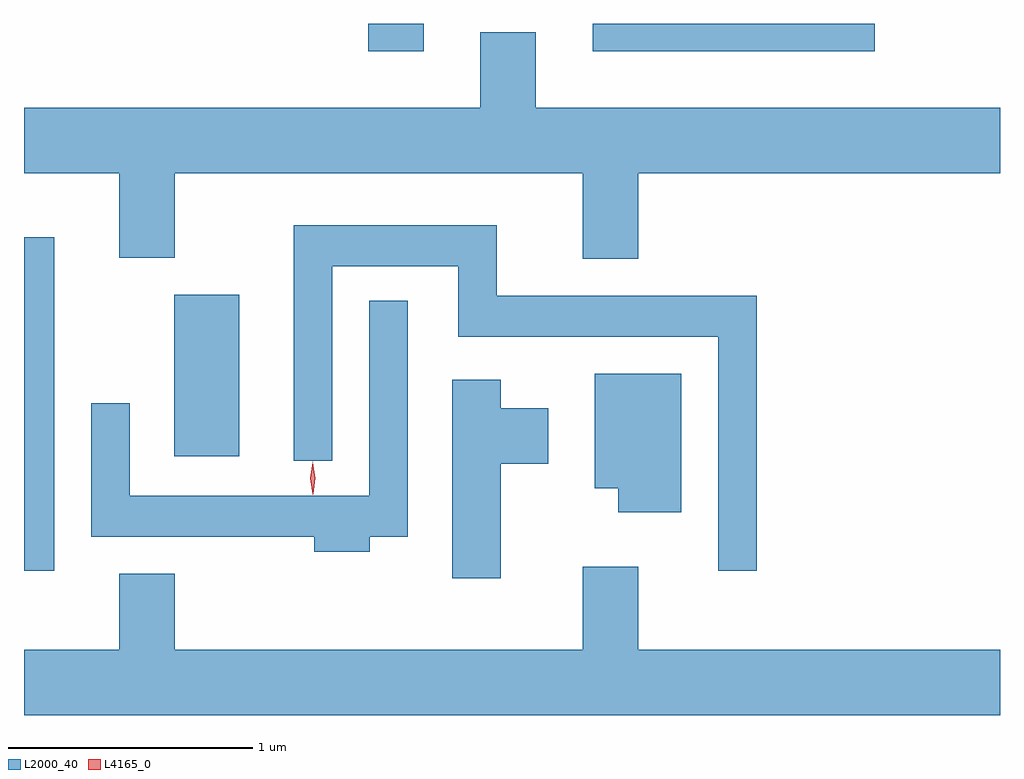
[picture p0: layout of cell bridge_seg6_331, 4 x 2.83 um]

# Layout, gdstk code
import gdstk
lib = gdstk.Library(unit=1e-6, precision=1e-09)
def R(c, l, rs):  # rectangles x0, y0, x1, y1
    for r in rs: c.add(gdstk.rectangle(r[:2], r[2:], *l))
def P(c, l, *ps):  # polygons
    for p in ps: c.add(gdstk.Polygon(p, *l))
L2000_40 = (2000, 40)
L4165_0 = (4165, 0)

bridge_seg6_331 = lib.new_cell('bridge_seg6_331')
R(bridge_seg6_331, L2000_40, [(1297.271,1539.528,1297.394,1540.894), (1297.886,1539.996,1298.154,1540.659), (1298.681,1541.656,1298.909,1541.768), (1299.601,1541.656,1300.758,1541.768)])
P(bridge_seg6_331, L2000_40, [(1299.789,1541.156),(1301.271,1541.156),(1301.271,1541.424),(1299.369,1541.424),(1299.369,1541.734),(1299.141,1541.734),(1299.141,1541.424),(1297.271,1541.424),(1297.271,1541.156),(1297.661,1541.156),(1297.661,1540.811),(1297.889,1540.811),(1297.889,1541.156),(1299.561,1541.156),(1299.561,1540.806),(1299.789,1540.806)],
  [(1300.274,1540.654),(1299.209,1540.654),(1299.209,1540.944),(1298.376,1540.944),(1298.376,1539.978),(1298.534,1539.978),(1298.534,1540.776),(1299.051,1540.776),(1299.051,1540.486),(1300.116,1540.486),(1300.116,1539.528),(1300.274,1539.528)],
  [(1298.689,1539.666),(1298.844,1539.666),(1298.844,1540.633),(1298.686,1540.633),(1298.686,1539.834),(1297.704,1539.834),(1297.704,1540.213),(1297.546,1540.213),(1297.546,1539.666),(1298.461,1539.666),(1298.461,1539.606),(1298.689,1539.606)],
  [(1299.964,1540.334),(1299.611,1540.334),(1299.611,1539.866),(1299.706,1539.866),(1299.706,1539.766),(1299.964,1539.766)],
  [(1299.224,1539.966),(1299.419,1539.966),(1299.419,1540.194),(1299.224,1540.194),(1299.224,1540.309),(1299.026,1540.309),(1299.026,1539.496),(1299.224,1539.496)],
  [(1301.271,1539.204),(1299.789,1539.204),(1299.789,1539.544),(1299.561,1539.544),(1299.561,1539.204),(1297.889,1539.204),(1297.889,1539.514),(1297.661,1539.514),(1297.661,1539.204),(1297.271,1539.204),(1297.271,1538.936),(1301.271,1538.936)])
P(bridge_seg6_331, L4165_0, [(1298.455,1539.839),(1298.455,1539.84),(1298.445,1539.906),(1298.454,1539.972),(1298.455,1539.973),(1298.455,1539.972),(1298.465,1539.906),(1298.456,1539.84)])

lib.write_gds('bridge_seg6_331.gds')
